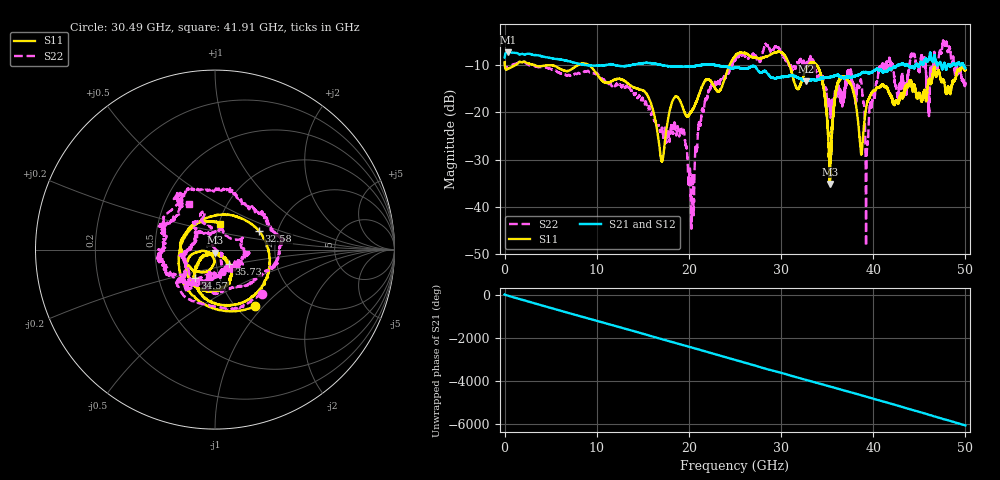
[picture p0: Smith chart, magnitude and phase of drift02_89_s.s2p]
!Created with skrf (http://scikit-rf.org).
# Hz S RI R 50.0
!freq ReS11 ImS11 ReS21 ImS21 ReS12 ImS12 ReS22 ImS22
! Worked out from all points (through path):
!   10001 points, 300 kHz to 50 GHz, reference 50 ohm
!   highest |S21| = -7.32 dB at 360.3 MHz (marker M1); lowest = -13.5 dB at 32.73 GHz (marker M2)
!   group delay of S21, straight-line fit = 335 ps
!   lowest |S11| = -35.2 dB at 35.3 GHz (marker M3), VSWR 1.04, Z = 50 - j1.74 ohm
!   |S11| at or under -10 dB: 3.225 GHz to 8.008 GHz (4.783 GHz wide, 85.2 % of centre); 9.105 GHz to 24.42 GHz (15.31 GHz wide, 91.4 % of centre); 33.85 GHz to end of sweep (the widest 3 of 8)
!   |S22| runs from -48.3 to -4.8 dB; largest |S21 - S12| = 0.013
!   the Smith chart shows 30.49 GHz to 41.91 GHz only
!   S11 on the Smith chart (normalised r, x): 30.49 GHz: 1.21, -0.90; 32.58 GHz: 1.60, +0.36; 34.57 GHz: 0.76, -0.25; 35.73 GHz: 1.15, -0.19; 41.91 GHz: 1.01, +0.30
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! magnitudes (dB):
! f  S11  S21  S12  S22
! 300 kHz  -9.4  -8.4  -8.4  -9.4
! 360.3 MHz  -10.8  -7.3  -7.3  -10.5
! 8.335 GHz  -9.7  -9.9  -9.9  -11.6
! 16.67 GHz  -25.4  -9.9  -9.9  -22.7
! 19.3 GHz  -18.9  -10.4  -10.3  -24.4
! 20.37 GHz  -19.5  -10.3  -10.4  -33.8
! 21.94 GHz  -13.1  -9.9  -10.0  -17.1
! 25 GHz  -8.2  -10.6  -10.6  -9.0
! 30.49 GHz  -8.3  -12.5  -12.4  -8.8
! 32.58 GHz  -11.5  -13.2  -13.3  -10.2
! 32.73 GHz  -10.9  -13.5  -13.5  -10.0
! 33.34 GHz  -9.5  -13.1  -13.2  -9.0
! 34.57 GHz  -14.3  -12.7  -12.7  -13.0
! 35.3 GHz  -35.2  -12.5  -12.5  -18.9
! 35.73 GHz  -19.1  -12.4  -12.4  -19.3
! 37.17 GHz  -13.1  -12.6  -12.5  -12.6
! 38.55 GHz  -26.1  -12.0  -12.0  -14.0
! 39.32 GHz  -18.2  -11.6  -11.5  -27.9
! 41.67 GHz  -15.7  -10.9  -11.1  -9.5
! 41.91 GHz  -16.6  -10.9  -10.9  -10.7
! 47.76 GHz  -14.3  -9.7  -9.7  -5.7
! 50 GHz  -11.1  -10.7  -10.8  -14.0
